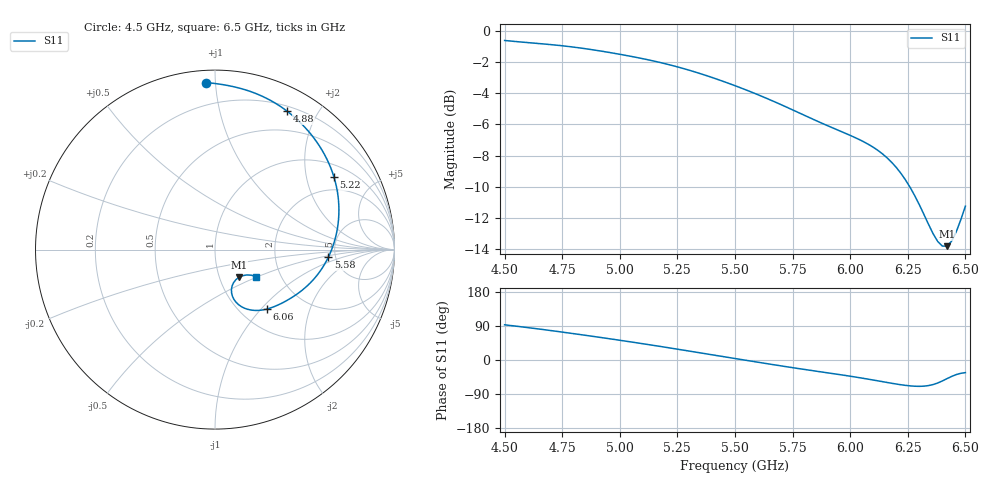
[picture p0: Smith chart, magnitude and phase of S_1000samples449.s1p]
! TOUCHSTONE file generated by CST MICROWAVE STUDIO
! Date and time: Fri Oct 28 05:13:48 2022
! Project name: L.cst
! Parameters = {Di=1.27; Epsilon_r=1.56; InnerDiameter=1.27; Length=2; Lf=10; Lg=60; OuterConductorThickness=0.2921; OuterDiameter=3.6; Wf=3; Wp=41.2; de=1.5; df=6.8; g=0.8; gx=1.90948; gy=4.76368; h=2.34; hf=1.524; px=11.8128; py=14.2169; w=9.7; wx=9.90336; wy=9.45319}
! Header version: 2018
! Port assignment regex: !\s*Touchstone port\s*([0-9]+)\s*=\s*(CST MWS port|CST DS port)\s*([0-9]+|Zmin|Zmax)\s*\(\"(.*)\"\)(\s*mode\s*([0-9]+))?.*
! Touchstone port assignment:
! Touchstone port 1 = CST MWS port 1 ("")
# GHz S DB R 50
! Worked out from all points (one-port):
!   101 points, 4.5 GHz to 6.5 GHz, reference 50 ohm
!   lowest |S11| = -13.8 dB at 6.42 GHz (marker M1), VSWR 1.51, Z = 61.8 - j19.9 ohm
!   |S11| at or under -10 dB: 6.258 GHz to end of sweep
!   S11 on the Smith chart (normalised r, x): 4.5 GHz: 0.07, +0.95; 4.88 GHz: 0.25, +1.61; 5.22 GHz: 1.42, +2.91; 5.58 GHz: 4.35, -0.63; 6.06 GHz: 1.32, -1.08; 6.5 GHz: 1.50, -0.49
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4.5  -0.62 92.9
4.64  -0.80 82.5
4.76  -0.97 72.8
4.88  -1.21 62.6
5  -1.50 52.1
5.12  -1.85 41.1
5.22  -2.19 31.5
5.26  -2.35 27.6
5.32  -2.61 21.7
5.38  -2.89 15.8
5.5  -3.52 3.9
5.58  -3.98 -3.9
5.68  -4.60 -13.6
5.76  -5.14 -21.1
5.86  -5.81 -30.2
6  -6.71 -42.8
6.06  -7.13 -48.7
6.16  -8.14 -59.3
6.22  -9.14 -65.3
6.26  -10.04 -68.3
6.3  -11.15 -69.5
6.34  -12.41 -67.5
6.38  -13.51 -60.6
6.4  -13.80 -55.3
6.42  -13.81 -49.3
6.44  -13.49 -43.4
6.46  -12.90 -38.5
6.5  -11.25 -33.3
